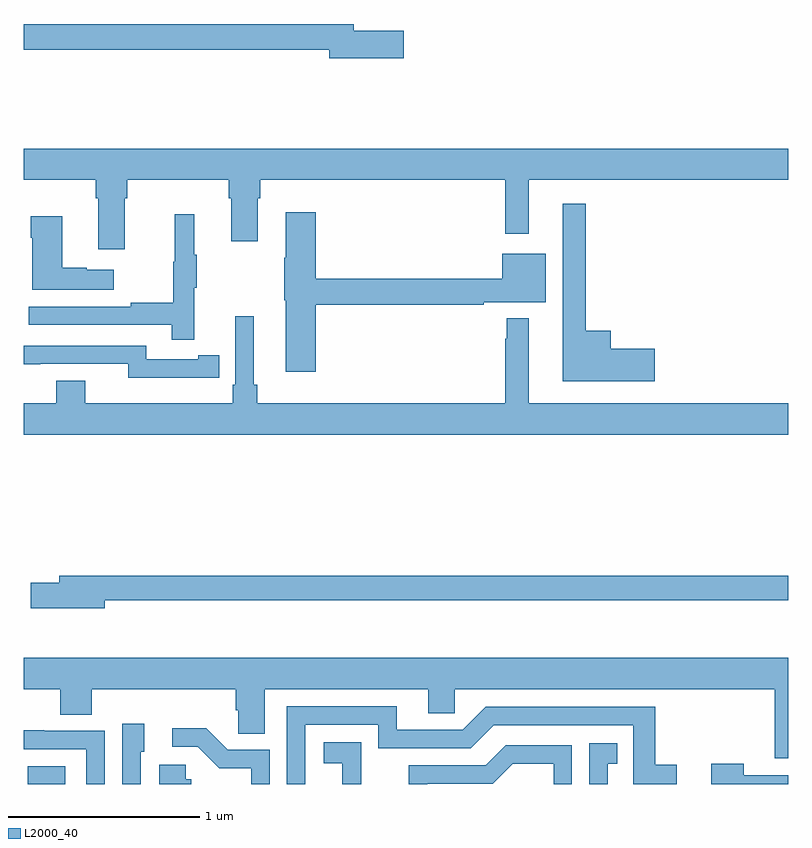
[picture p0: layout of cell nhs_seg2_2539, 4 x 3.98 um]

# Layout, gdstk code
import gdstk
lib = gdstk.Library(unit=1e-6, precision=1e-09)
def R(c, l, rs):  # rectangles x0, y0, x1, y1
    for r in rs: c.add(gdstk.rectangle(r[:2], r[2:], *l))
def P(c, l, *ps):  # polygons
    for p in ps: c.add(gdstk.Polygon(p, *l))
L2000_40 = (2000, 40)

nhs_seg2_2539 = lib.new_cell('nhs_seg2_2539')
R(nhs_seg2_2539, L2000_40, [(243.02,653.8,243.217,653.893)])
P(nhs_seg2_2539, L2000_40, [(244.987,657.74),(244.726,657.74),(244.726,657.776),(243,657.776),(243,657.64),(244.598,657.64),(244.598,657.598),(244.987,657.598)],
  [(243.529,656.864),(243.542,656.864),(243.542,656.96),(244.073,656.96),(244.073,656.864),(244.085,656.864),(244.085,656.64),(244.225,656.64),(244.225,656.864),(244.238,656.864),(244.238,656.96),(245.52,656.96),(245.52,656.679),(245.641,656.679),(245.641,656.96),(247,656.96),(247,657.124),(243,657.124),(243,656.96),(243.377,656.96),(243.377,656.864),(243.389,656.864),(243.389,656.598),(243.529,656.598)],
  [(246.301,656.078),(246.07,656.078),(246.07,656.17),(245.941,656.17),(245.941,656.836),(245.819,656.836),(245.819,655.907),(246.301,655.907)],
  [(244.529,656.308),(245.408,656.308),(245.408,656.321),(245.731,656.321),(245.731,656.575),(245.504,656.575),(245.504,656.444),(244.529,656.444),(244.529,656.791),(244.37,656.791),(244.37,656.552),(244.363,656.552),(244.363,656.331),(244.37,656.331),(244.37,655.956),(244.529,655.956)],
  [(243.893,656.395),(243.904,656.395),(243.904,656.569),(243.893,656.569),(243.893,656.782),(243.79,656.782),(243.79,656.532),(243.783,656.532),(243.783,656.318),(243.559,656.318),(243.559,656.298),(243.027,656.298),(243.027,656.202),(243.775,656.202),(243.775,656.124),(243.893,656.124)],
  [(243.472,656.491),(243.329,656.491),(243.329,656.501),(243.202,656.501),(243.202,656.77),(243.037,656.77),(243.037,656.657),(243.044,656.657),(243.044,656.387),(243.472,656.387)],
  [(247,655.792),(245.641,655.792),(245.641,656.236),(245.526,656.236),(245.526,656.129),(245.52,656.129),(245.52,655.792),(244.223,655.792),(244.223,655.888),(244.204,655.888),(244.204,656.248),(244.107,656.248),(244.107,655.888),(244.094,655.888),(244.094,655.792),(243.322,655.792),(243.322,655.909),(243.17,655.909),(243.17,655.792),(243,655.792),(243,655.628),(247,655.628)],
  [(243.914,655.926),(244.022,655.926),(244.022,656.042),(243.914,656.042),(243.914,656.022),(243.642,656.022),(243.642,656.094),(243,656.094),(243,655.997),(243.086,655.997),(243.086,655.998),(243.546,655.998),(243.546,655.925),(243.914,655.925)],
  [(243.424,654.762),(247,654.762),(247,654.89),(243.185,654.89),(243.185,654.854),(243.036,654.854),(243.036,654.719),(243.424,654.719)],
  [(247,654.46),(243,654.46),(243,654.296),(243.191,654.296),(243.191,654.163),(243.356,654.163),(243.356,654.296),(244.109,654.296),(244.109,654.187),(244.122,654.187),(244.122,654.064),(244.261,654.064),(244.261,654.296),(245.117,654.296),(245.117,654.169),(245.256,654.169),(245.256,654.296),(246.929,654.296),(246.929,653.934),(247,653.934)],
  [(244.473,654.111),(244.854,654.111),(244.854,653.988),(245.34,653.988),(245.46,654.108),(246.189,654.108),(246.189,653.8),(246.416,653.8),(246.416,653.902),(246.305,653.902),(246.305,654.204),(245.418,654.204),(245.298,654.084),(244.951,654.084),(244.951,654.207),(244.377,654.207),(244.377,653.8),(244.473,653.8)],
  [(243.612,653.97),(243.631,653.97),(243.631,654.115),(243.516,654.115),(243.516,653.8),(243.612,653.8)],
  [(244.287,653.979),(244.068,653.979),(243.955,654.092),(243.777,654.092),(243.777,653.994),(243.911,653.994),(244.022,653.883),(244.191,653.883),(244.191,653.8),(244.287,653.8)],
  [(243.423,654.078),(243.107,654.078),(243.107,654.08),(243,654.08),(243,653.982),(243.327,653.982),(243.327,653.8),(243.423,653.8)],
  [(244.766,653.813),(244.767,653.813),(244.767,654.019),(244.569,654.019),(244.569,653.909),(244.667,653.909),(244.667,653.8),(244.766,653.8)],
  [(246.055,653.907),(246.104,653.907),(246.104,654.013),(245.958,654.013),(245.958,653.8),(246.055,653.8)],
  [(245.112,653.802),(245.454,653.802),(245.558,653.906),(245.772,653.906),(245.772,653.8),(245.868,653.8),(245.868,654.003),(245.522,654.003),(245.417,653.898),(245.014,653.898),(245.014,653.8),(245.112,653.8)],
  [(247,653.845),(246.767,653.845),(246.767,653.905),(246.596,653.905),(246.596,653.8),(247,653.8)],
  [(243.876,653.826),(243.849,653.826),(243.849,653.902),(243.71,653.902),(243.71,653.8),(243.876,653.8)])

lib.write_gds('nhs_seg2_2539.gds')
